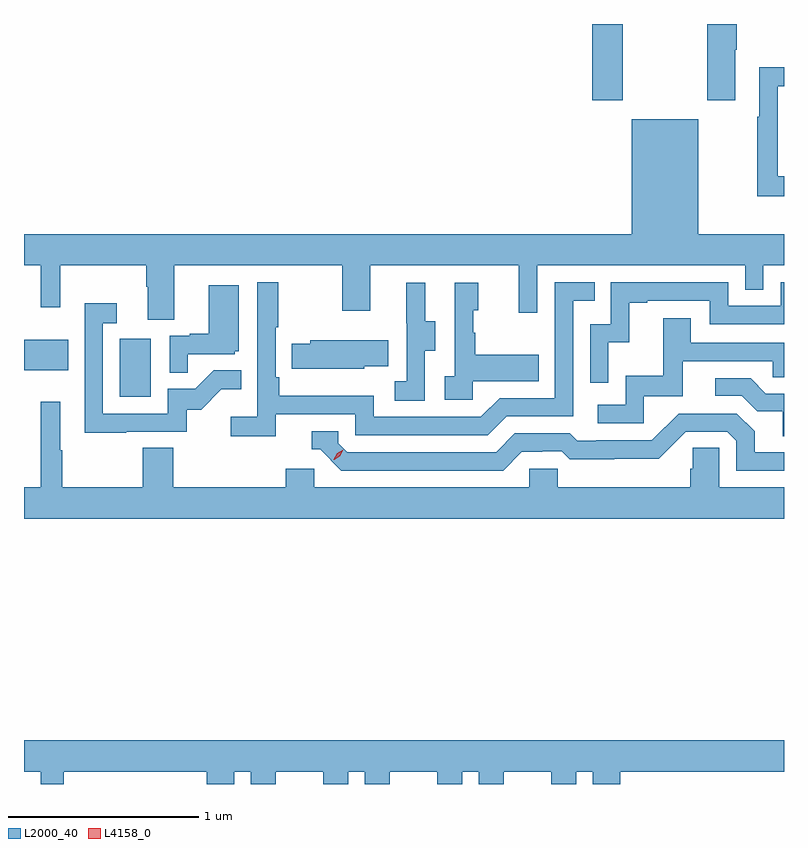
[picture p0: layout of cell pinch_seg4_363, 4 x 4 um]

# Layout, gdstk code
import gdstk
lib = gdstk.Library(unit=1e-6, precision=1e-09)
def R(c, l, rs):  # rectangles x0, y0, x1, y1
    for r in rs: c.add(gdstk.rectangle(r[:2], r[2:], *l))
def P(c, l, *ps):  # polygons
    for p in ps: c.add(gdstk.Polygon(p, *l))
L2000_40 = (2000, 40)
L4158_0 = (4158, 0)

pinch_seg4_363 = lib.new_cell('pinch_seg4_363')
R(pinch_seg4_363, L2000_40, [(969.626,800.124,969.79,800.431), (969.122,800.264,969.355,800.425), (972.113,801.687,972.273,802.087)])
P(pinch_seg4_363, L2000_40, [(972.865,801.952),(972.873,801.952),(972.873,802.087),(972.718,802.087),(972.718,801.687),(972.865,801.687)],
  [(973.122,801.285),(973.089,801.285),(973.089,801.759),(973.122,801.759),(973.122,801.86),(972.993,801.86),(972.993,801.599),(972.981,801.599),(972.981,801.18),(973.122,801.18)],
  [(969.913,800.816),(970.798,800.816),(970.798,800.577),(970.945,800.577),(970.945,800.816),(971.726,800.816),(971.726,800.568),(971.823,800.568),(971.823,800.816),(972.918,800.816),(972.918,800.689),(973.014,800.689),(973.014,800.816),(973.122,800.816),(973.122,800.98),(972.67,800.98),(972.67,801.586),(972.32,801.586),(972.32,800.98),(969.122,800.98),(969.122,800.816),(969.209,800.816),(969.209,800.595),(969.313,800.595),(969.313,800.816),(969.766,800.816),(969.766,800.704),(969.773,800.704),(969.773,800.53),(969.913,800.53)],
  [(970.448,800.034),(970.866,800.034),(970.866,799.923),(971.563,799.923),(971.662,800.022),(972.012,800.022),(972.012,800.631),(972.125,800.631),(972.125,800.727),(971.916,800.727),(971.916,800.118),(971.625,800.118),(971.526,800.019),(970.962,800.019),(970.962,800.131),(970.465,800.131),(970.465,800.227),(970.446,800.227),(970.446,800.491),(970.459,800.491),(970.459,800.728),(970.35,800.728),(970.35,800.02),(970.209,800.02),(970.209,799.918),(970.448,799.918)],
  [(972.198,800.411),(972.308,800.411),(972.308,800.619),(972.403,800.619),(972.403,800.631),(972.732,800.631),(972.732,800.508),(973.122,800.508),(973.122,800.727),(973.104,800.727),(973.104,800.604),(972.828,800.604),(972.828,800.727),(972.21,800.727),(972.21,800.508),(972.102,800.508),(972.102,800.199),(972.198,800.199)],
  [(971.232,800.368),(971.287,800.368),(971.287,800.523),(971.233,800.523),(971.233,800.725),(971.135,800.725),(971.135,800.511),(971.136,800.511),(971.136,800.207),(971.073,800.207),(971.073,800.104),(971.232,800.104)],
  [(971.484,800.207),(971.831,800.207),(971.831,800.347),(971.497,800.347),(971.497,800.462),(971.487,800.462),(971.487,800.58),(971.512,800.58),(971.512,800.725),(971.388,800.725),(971.388,800.234),(971.337,800.234),(971.337,800.109),(971.484,800.109)],
  [(969.983,800.349),(970.23,800.349),(970.23,800.364),(970.252,800.364),(970.252,800.713),(970.094,800.713),(970.094,800.458),(969.995,800.458),(969.995,800.445),(969.888,800.445),(969.888,800.251),(969.983,800.251)],
  [(969.659,799.941),(969.978,799.941),(969.978,800.058),(970.054,800.058),(970.161,800.165),(970.265,800.165),(970.265,800.264),(970.121,800.264),(970.023,800.166),(969.879,800.166),(969.879,800.037),(969.537,800.037),(969.537,800.511),(969.61,800.511),(969.61,800.617),(969.441,800.617),(969.441,799.936),(969.659,799.936)],
  [(972.384,800.127),(972.589,800.127),(972.589,800.313),(973.063,800.313),(973.063,800.229),(973.122,800.229),(973.122,800.409),(972.631,800.409),(972.631,800.539),(972.487,800.539),(972.487,800.236),(972.288,800.236),(972.288,800.082),(972.141,800.082),(972.141,799.986),(972.384,799.986)],
  [(970.914,800.285),(971.039,800.285),(971.039,800.422),(970.629,800.422),(970.629,800.403),(970.531,800.403),(970.531,800.273),(970.914,800.273)],
  [(973.122,800.142),(973.027,800.142),(972.946,800.223),(972.759,800.223),(972.759,800.13),(972.9,800.13),(972.98,800.05),(973.115,800.05),(973.115,799.918),(973.122,799.918)],
  [(973.122,799.648),(972.78,799.648),(972.78,799.856),(972.643,799.856),(972.643,799.746),(972.629,799.746),(972.629,799.648),(971.931,799.648),(971.931,799.746),(971.781,799.746),(971.781,799.648),(970.65,799.648),(970.65,799.746),(970.499,799.746),(970.499,799.648),(969.908,799.648),(969.908,799.856),(969.748,799.856),(969.748,799.648),(969.323,799.648),(969.323,799.844),(969.313,799.844),(969.313,800.098),(969.209,800.098),(969.209,799.648),(969.122,799.648),(969.122,799.484),(973.122,799.484)],
  [(971.743,799.836),(971.85,799.836),(971.85,799.839),(971.953,799.839),(971.995,799.797),(972.228,799.797),(972.228,799.799),(972.464,799.799),(972.606,799.941),(972.822,799.941),(972.87,799.893),(972.87,799.737),(973.122,799.737),(973.122,799.833),(972.967,799.833),(972.967,799.943),(972.873,800.037),(972.567,800.037),(972.426,799.896),(972.133,799.896),(972.133,799.893),(972.034,799.893),(971.995,799.932),(971.706,799.932),(971.607,799.833),(970.824,799.833),(970.776,799.881),(970.776,799.944),(970.637,799.944),(970.637,799.848),(970.68,799.848),(970.791,799.737),(971.644,799.737)],
  [(969.122,798.152),(969.209,798.152),(969.209,798.087),(969.331,798.087),(969.331,798.152),(970.085,798.152),(970.085,798.087),(970.228,798.087),(970.228,798.152),(970.316,798.152),(970.316,798.087),(970.447,798.087),(970.447,798.152),(970.697,798.152),(970.697,798.087),(970.828,798.087),(970.828,798.152),(970.916,798.152),(970.916,798.087),(971.047,798.087),(971.047,798.152),(971.297,798.152),(971.297,798.087),(971.428,798.087),(971.428,798.152),(971.516,798.152),(971.516,798.087),(971.647,798.087),(971.647,798.152),(971.897,798.152),(971.897,798.087),(972.028,798.087),(972.028,798.152),(972.116,798.152),(972.116,798.087),(972.26,798.087),(972.26,798.152),(973.122,798.152),(973.122,798.316),(969.122,798.316)])
P(pinch_seg4_363, L4158_0, [(970.753,799.794),(970.753,799.795),(970.77,799.827),(970.801,799.846),(970.801,799.846),(970.801,799.846),(970.785,799.813),(970.754,799.794)])

lib.write_gds('pinch_seg4_363.gds')
